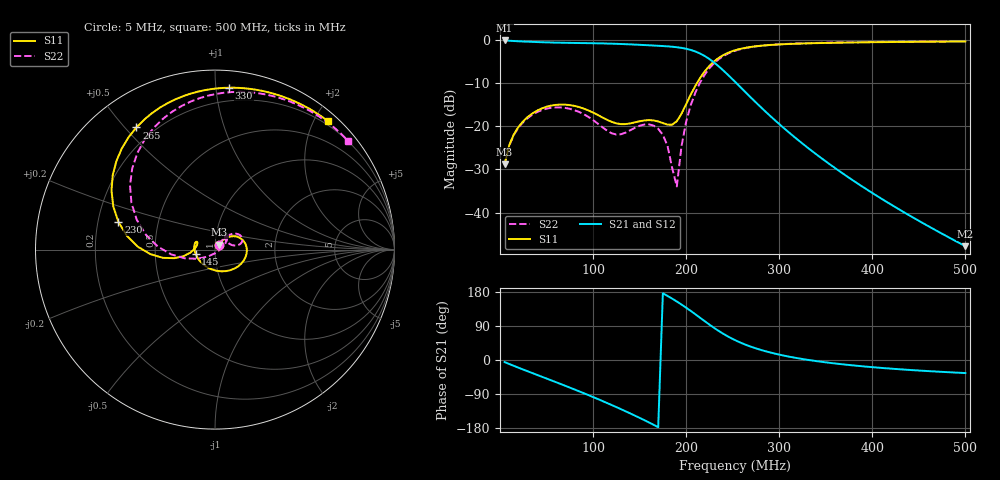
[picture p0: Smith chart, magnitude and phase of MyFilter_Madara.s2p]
! Created Wed Oct 23 10:34:18 2024
# hz S ma R 50
! 2 Port Network Data from SP1.SP block
! freq  magS11  angS11  magS21  angS21  magS12  angS12  magS22  angS22
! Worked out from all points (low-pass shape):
!   100 points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, 5 MHz to 500 MHz, reference 50 ohm
!   highest |S21| = -0.19 dB at 5 MHz (marker M1); lowest = -47.7 dB at 500 MHz (marker M2)
!   |S21| within 3 dB of the highest: start of sweep to 214.8 MHz
!   lowest |S11| = -28.8 dB at 5 MHz (marker M3), VSWR 1.08, Z = 52.4 + j2.83 ohm
!   |S11| at or under -10 dB: start of sweep to 211.8 MHz
!   |S22| runs from -33.9 to -0.4 dB; largest |S21 - S12| = 0
!   S11 on the Smith chart (normalised r, x): 5 MHz: 1.05, +0.06; 145 MHz: 0.80, -0.04; 230 MHz: 0.29, +0.13; 265 MHz: 0.14, +0.54; 330 MHz: 0.11, +1.09; 500 MHz: 0.14, +2.20
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5000000  0.0362 48.3  0.9784 -5.5  0.9784 -5.5  0.03597 49.2
1.5e7  0.08065 48.0  0.9635 -15.6  0.9635 -15.6  0.07948 51.4
3.5e7  0.1407 31.0  0.9421 -34.7  0.9421 -34.7  0.1361 40.6
6e7  0.1762 4.7  0.924 -58.4  0.924 -58.4  0.1648 25.2
9e7  0.1596 -35.4  0.9121 -87.5  0.9121 -87.5  0.1375 11.6
1.25e8  0.1077 -112.5  0.8944 -124.3  0.8944 -124.3  0.07998 33.9
1.45e8  0.1106 -166.2  0.8763 -146.8  0.8763 -146.8  0.09577 54.4
1.7e8  0.1134 157.1  0.8492 -177.4  0.8492 -177.4  0.09332 42.9
1.8e8  0.1041 159.9  0.836 169.1  0.836 169.1  0.05916 26.7
1.9e8  0.114 178.3  0.8171 154.3  0.8171 154.3  0.02009 -85.9
1.95e8  0.139 -172.8  0.8031 146.4  0.8031 146.4  0.05842 -137.0
2.05e8  0.2319 -168.1  0.7603 129.5  0.7603 129.5  0.1753 -163.9
2.15e8  0.3613 -176.0  0.6911 111.4  0.6911 111.4  0.3192 176.9
2.3e8  0.5601 164.0  0.5444 84.8  0.5444 84.8  0.5339 150.7
2.4e8  0.6641 150.3  0.4398 69.0  0.4398 69.0  0.6461 135.5
2.55e8  0.7671 132.5  0.3067 49.6  0.3067 49.6  0.758 117.0
2.65e8  0.8093 122.8  0.2395 39.3  0.2395 39.3  0.8044 107.3
2.9e8  0.8671 104.3  0.1322 20.1  0.1322 20.1  0.8681 89.3
3.3e8  0.9054 85.0  0.05701 0.7  0.05701 0.7  0.91 71.5
3.35e8  0.9083 83.2  0.05178 -1.2  0.05178 -1.2  0.9131 69.8
4.2e8  0.9384 61.1  0.01243 -22.8  0.01243 -22.8  0.944 50.1
5e8  0.9528 48.8  0.0041 -34.4  0.0041 -34.4  0.9577 39.4
